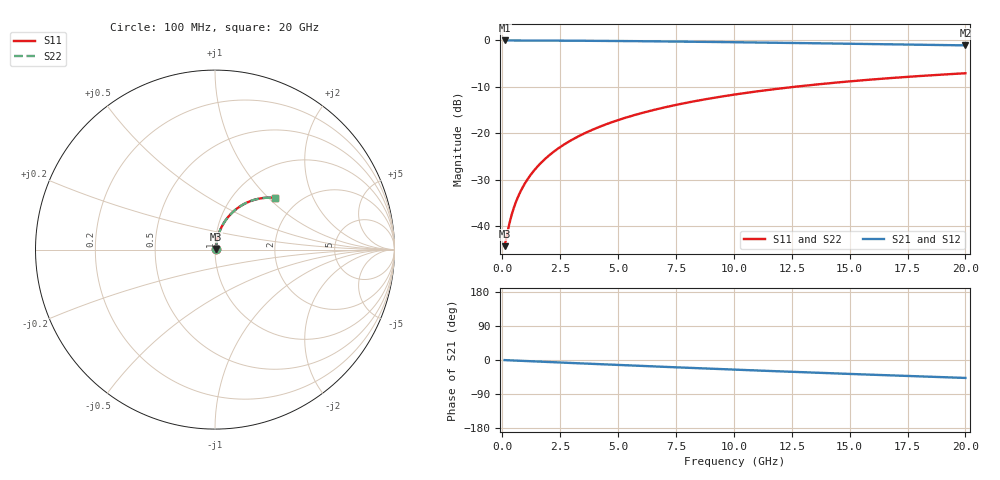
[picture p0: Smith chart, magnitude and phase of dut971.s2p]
! Touchstone file exported from HFSS 2026.1.0
!  File:  C:/ffzhzh/LocalFiles/Ansys_Project_Files/temp_train_BSMRDL_971_1783172603_55132.aedt
!  Generated:  09:44:34 PM Jul  4, 2026
!  Design:  BSMRDL
!  Project:  temp_train_BSMRDL_971_1783172603_55132
! Variables:
!  h_bsmrdl = 3.98um
!  h_ox = 20um
!  h_rdl = 5um
!  h_sub = 80um
!  h_tmrdl = 5um
!  h_tsv = 80um
!  h_via = 3um
!  l_bsmrdl = 716.01um
!  l_sub = 1116.01um
!  l_tmrdl = 200um
!  m_sub = 200um
!  pitch = 33.17um
!  r_tsv = 6um
!  s_tmrdl = 10um
!  w_bsmrdl = 12.07um
!  w_sub = 500um
!  w_tmrdl = 12um
!  x_tsv_center1 = 206um
!  x_tsv_center2 = 934.08um
!  x_tsv_center3 = 1146.08um
!  x_tsv_center4 = 1874.16um
!  x_tsv_center5 = 2086.16um
!  x_tsv_center6 = 2814.24um
# GHz S MA R 50.000000
! Terminal data exported
! Port[1] = BSM_RDL1_1_T1
! Port[2] = BSM_RDL1_1_T2
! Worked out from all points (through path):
!   200 points, 100 MHz to 20 GHz, reference 50 ohm
!   highest |S21| = -0.05 dB at 100 MHz (marker M1); lowest = -1.1 dB at 20 GHz (marker M2)
!   group delay of S21, straight-line fit = 6.57 ps
!   lowest |S11| = -44.3 dB at 100 MHz (marker M3), VSWR 1.01, Z = 50.5 + j0.304 ohm
!   |S11| at or under -10 dB: start of sweep to 12.65 GHz
!   |S22| runs from -44.3 to -7.1 dB; largest |S21 - S12| = 3.3e-15
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0.1  0.006108 29.5  0.9947 -0.3  0.9947 -0.3  0.006108 29.5
! Gamma 0 0 0 0
! Port Impedance 50 0 50 0
0.3  0.01054 57.6  0.9944 -0.8  0.9944 -0.8  0.01054 57.6
0.4  0.01316 63.4  0.9943 -1.1  0.9943 -1.1  0.01316 63.4
0.5  0.01584 67.2  0.9941 -1.4  0.9941 -1.4  0.01584 67.2
0.6  0.01855 69.8  0.994 -1.6  0.994 -1.6  0.01855 69.8
0.8  0.02401 73.1  0.9937 -2.1  0.9937 -2.1  0.02401 73.1
1  0.0295 75.1  0.9934 -2.7  0.9934 -2.7  0.0295 75.1
1.2  0.03502 76.3  0.9931 -3.2  0.9931 -3.2  0.03502 76.3
1.4  0.04055 77.1  0.9928 -3.7  0.9928 -3.7  0.04055 77.1
1.7  0.04887 77.7  0.9922 -4.5  0.9922 -4.5  0.04887 77.7
2.2  0.06273 77.8  0.9912 -5.8  0.9912 -5.8  0.06273 77.8
2.8  0.07928 77.3  0.9896 -7.4  0.9896 -7.4  0.07928 77.3
3.5  0.09841 76.2  0.9874 -9.2  0.9874 -9.2  0.09841 76.2
4.2  0.1173 74.9  0.9848 -11.0  0.9848 -11.0  0.1173 74.9
5  0.1385 73.2  0.9813 -13.1  0.9813 -13.1  0.1385 73.2
5.9  0.1618 71.2  0.977 -15.3  0.977 -15.3  0.1618 71.2
6.8  0.1845 69.1  0.9722 -17.6  0.9722 -17.6  0.1845 69.1
8.3  0.2209 65.7  0.9634 -21.3  0.9634 -21.3  0.2209 65.7
10.1  0.2622 61.5  0.9519 -25.6  0.9519 -25.6  0.2622 61.5
13.4  0.3311 54.2  0.9287 -33.2  0.9287 -33.2  0.3311 54.2
16.7  0.3909 47.3  0.9046 -40.4  0.9046 -40.4  0.3909 47.3
20  0.4417 40.6  0.8807 -47.3  0.8807 -47.3  0.4416 40.6
